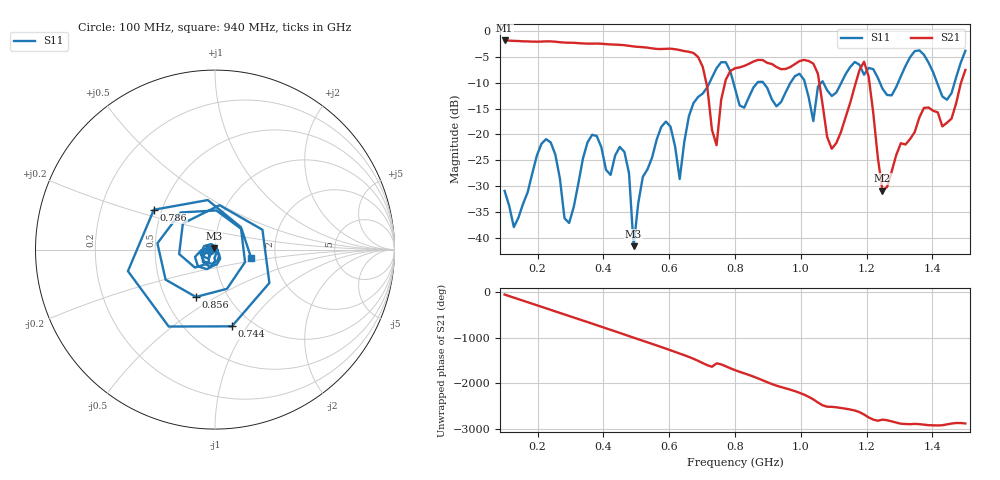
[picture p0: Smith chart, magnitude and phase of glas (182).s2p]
! NanoVNA-App
! Date: 2025-09-25 15:56:53
! Start: 100MHz Stop: 1,5GHz Points: 101
! S-Parameter data: F S11 S21 S12 S22
# Hz S RI R 50
!  Frequency  S11_Real  S11_Imag  S21_Real  S21_Imag  S12_Real  S12_Imag  S22_Real  S22_Imag
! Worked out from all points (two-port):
!   101 points, 100 MHz to 1.5 GHz, reference 50 ohm
!   highest |S21| = -1.80 dB at 100 MHz (marker M1); lowest = -30.9 dB at 1.248 GHz (marker M2)
!   |S21| within 3 dB of the highest: start of sweep to 684.2 MHz
!   lowest |S11| = -41.7 dB at 492 MHz (marker M3), VSWR 1.02, Z = 49.5 + j0.645 ohm
!   |S11| at or under -10 dB: start of sweep to 722.4 MHz; 795.3 MHz to 867.9 MHz (72.55 MHz wide, 8.72 % of centre); 886.1 MHz to 968.6 MHz (82.43 MHz wide, 8.89 % of centre) (the widest 3 of 7)
!   S12 and S22 are empty: the file has one direction only
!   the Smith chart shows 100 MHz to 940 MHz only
!   S11 on the Smith chart (normalised r, x): 100 MHz: 0.95, -0.01; 744 MHz: 0.81, -0.85; 786 MHz: 0.45, +0.24; 856 MHz: 0.71, -0.41; 940 MHz: 1.50, -0.14
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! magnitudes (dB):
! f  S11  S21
! 100 MHz  -31.0  -1.8
! 128 MHz  -38.0  -1.9
! 226 MHz  -20.9  -2.0
! 296 MHz  -37.2  -2.2
! 338 MHz  -24.7  -2.4
! 464 MHz  -23.4  -2.7
! 492 MHz  -41.7  -3.0
! 576 MHz  -18.5  -3.5
! 632 MHz  -28.6  -3.7
! 702 MHz  -12.1  -6.9
! 744 MHz  -7.2  -22.1
! 786 MHz  -7.8  -7.7
! 800 MHz  -11.1  -7.2
! 856 MHz  -10.9  -5.9
! 940 MHz  -13.7  -7.4
! 996 MHz  -8.3  -5.8
! 1.038 GHz  -17.4  -6.3
! 1.094 GHz  -12.6  -22.8
! 1.192 GHz  -8.4  -5.9
! 1.248 GHz  -11.1  -30.9
! 1.276 GHz  -12.4  -27.2
! 1.5 GHz  -3.8  -7.5
